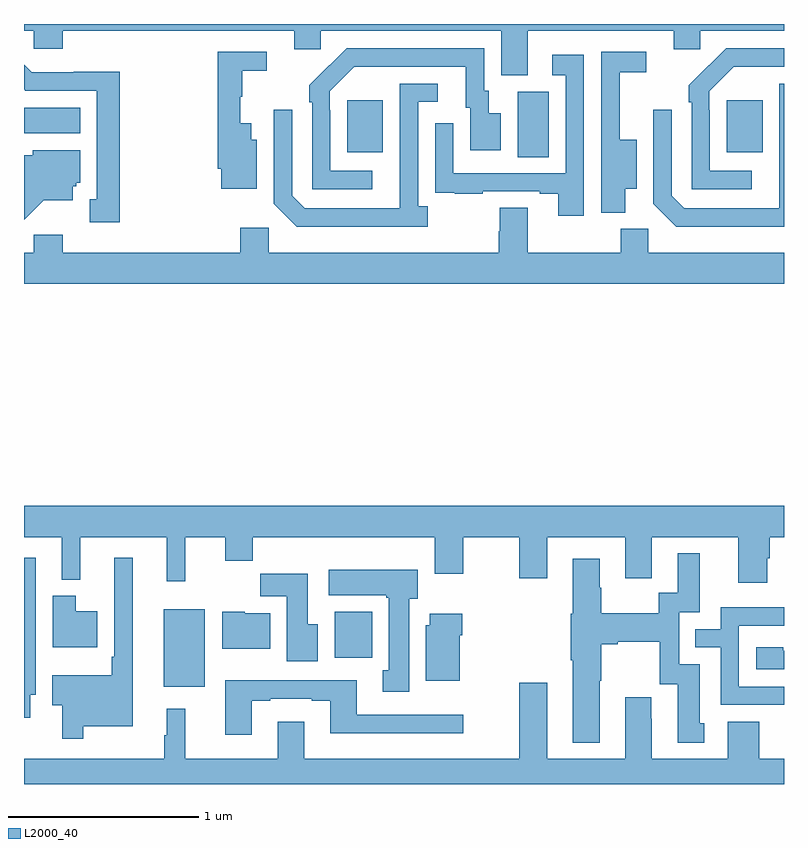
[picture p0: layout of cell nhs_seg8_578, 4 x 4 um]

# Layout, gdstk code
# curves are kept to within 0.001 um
import gdstk
lib = gdstk.Library(unit=1e-6, precision=1e-09)
def R(c, l, rs):  # rectangles x0, y0, x1, y1
    for r in rs: c.add(gdstk.rectangle(r[:2], r[2:], *l))
def P(c, l, *ps):  # polygons
    for p in ps: c.add(gdstk.Polygon(p, *l))
L2000_40 = (2000, 40)

nhs_seg8_578 = lib.new_cell('nhs_seg8_578')
R(nhs_seg8_578, L2000_40, [(149.735,1082.411,149.95,1082.821), (150.635,1082.564,150.832,1082.806), (151.598,1085.2,151.762,1085.544), (150.701,1085.225,150.889,1085.5), (152.699,1085.225,152.887,1085.5), (149,1085.324,149.296,1085.458)])
P(nhs_seg8_578, L2000_40, [(151.651,1085.864),(152.42,1085.864),(152.42,1085.766),(152.559,1085.766),(152.559,1085.864),(153,1085.864),(153,1085.9),(149,1085.9),(149,1085.864),(149.052,1085.864),(149.052,1085.771),(149.204,1085.771),(149.204,1085.864),(150.422,1085.864),(150.422,1085.766),(150.561,1085.766),(150.561,1085.864),(151.511,1085.864),(151.511,1085.629),(151.651,1085.629)],
  [(152.83,1085.127),(152.61,1085.127),(152.61,1085.447),(152.607,1085.447),(152.607,1085.547),(152.736,1085.676),(153,1085.676),(153,1085.772),(152.696,1085.772),(152.499,1085.577),(152.499,1085.489),(152.514,1085.489),(152.514,1085.031),(152.83,1085.031)],
  [(150.832,1085.127),(150.612,1085.127),(150.612,1085.447),(150.609,1085.447),(150.609,1085.547),(150.738,1085.676),(151.325,1085.676),(151.325,1085.46),(151.349,1085.46),(151.349,1085.235),(151.51,1085.235),(151.51,1085.431),(151.447,1085.431),(151.447,1085.55),(151.422,1085.55),(151.422,1085.772),(150.698,1085.772),(150.501,1085.577),(150.501,1085.489),(150.516,1085.489),(150.516,1085.031),(150.832,1085.031)],
  [(150.226,1085.29),(150.196,1085.29),(150.196,1085.377),(150.137,1085.377),(150.137,1085.517),(150.148,1085.517),(150.148,1085.653),(150.277,1085.653),(150.277,1085.754),(150.019,1085.754),(150.019,1085.137),(150.038,1085.137),(150.038,1085.033),(150.226,1085.033)],
  [(152.164,1085.033),(152.224,1085.033),(152.224,1085.29),(152.135,1085.29),(152.135,1085.646),(152.275,1085.646),(152.275,1085.754),(152.037,1085.754),(152.037,1084.907),(152.164,1084.907)],
  [(151.947,1085.737),(151.779,1085.737),(151.779,1085.631),(151.851,1085.631),(151.851,1085.115),(151.26,1085.115),(151.26,1085.377),(151.164,1085.377),(151.164,1085.122),(151.165,1085.122),(151.165,1085.013),(151.267,1085.013),(151.267,1085.007),(151.415,1085.007),(151.415,1085.019),(151.715,1085.019),(151.715,1085.007),(151.811,1085.007),(151.811,1084.89),(151.947,1084.89)],
  [(149.503,1085.648),(149.262,1085.648),(149.262,1085.646),(149.04,1085.646),(149,1085.686),(149,1085.557),(149.007,1085.55),(149.384,1085.55),(149.384,1084.977),(149.345,1084.977),(149.345,1084.857),(149.503,1084.857)],
  [(153,1085.586),(152.976,1085.586),(152.976,1085.129),(152.975,1085.129),(152.975,1084.929),(152.475,1084.929),(152.409,1084.995),(152.409,1085.449),(152.313,1085.449),(152.313,1084.953),(152.434,1084.832),(153,1084.832)],
  [(151.126,1084.942),(151.074,1084.942),(151.074,1085.49),(151.177,1085.49),(151.177,1085.586),(150.978,1085.586),(150.977,1084.929),(150.477,1084.929),(150.411,1084.995),(150.411,1085.449),(150.315,1085.449),(150.315,1084.953),(150.436,1084.832),(151.126,1084.832)],
  [(149.002,1084.871),(149.105,1084.973),(149.257,1084.973),(149.257,1085.046),(149.274,1085.046),(149.274,1085.064),(149.296,1085.064),(149.296,1085.236),(149.046,1085.236),(149.046,1085.209),(149,1085.209),(149,1084.869)],
  [(153,1084.696),(152.286,1084.696),(152.286,1084.822),(152.14,1084.822),(152.14,1084.696),(151.651,1084.696),(151.651,1084.934),(151.504,1084.934),(151.504,1084.809),(151.499,1084.809),(151.499,1084.696),(150.288,1084.696),(150.288,1084.828),(150.137,1084.828),(150.137,1084.696),(149.204,1084.696),(149.204,1084.792),(149.052,1084.792),(149.052,1084.696),(149,1084.696),(149,1084.532),(153,1084.532)],
  [(152.911,1083.087),(152.924,1083.087),(152.924,1083.2),(153,1083.2),(153,1083.364),(149,1083.364),(149,1083.2),(149.198,1083.2),(149.198,1082.975),(149.297,1082.975),(149.297,1083.2),(149.75,1083.2),(149.75,1082.967),(149.849,1082.967),(149.849,1083.2),(150.059,1083.2),(150.059,1083.076),(150.203,1083.076),(150.203,1083.2),(151.163,1083.2),(151.163,1083.006),(151.311,1083.006),(151.311,1083.2),(151.606,1083.2),(151.606,1082.982),(151.753,1082.982),(151.753,1083.2),(152.165,1083.2),(152.165,1082.982),(152.305,1082.982),(152.305,1083.2),(152.759,1083.2),(152.759,1082.958),(152.911,1082.958)],
  [(152.029,1082.443),(152.037,1082.443),(152.037,1082.636),(152.125,1082.636),(152.125,1082.648),(152.345,1082.648),(152.345,1082.424),(152.441,1082.424),(152.441,1082.118),(152.581,1082.118),(152.581,1082.22),(152.557,1082.22),(152.557,1082.529),(152.448,1082.529),(152.448,1082.805),(152.557,1082.805),(152.557,1083.115),(152.441,1083.115),(152.441,1082.906),(152.34,1082.906),(152.34,1082.8),(152.037,1082.8),(152.037,1082.934),(152.029,1082.934),(152.029,1083.085),(151.889,1083.085),(151.889,1082.796),(151.877,1082.796),(151.877,1082.552),(151.889,1082.552),(151.889,1082.117),(152.029,1082.117)],
  [(149.311,1082.204),(149.572,1082.204),(149.572,1083.091),(149.475,1083.091),(149.475,1082.569),(149.463,1082.569),(149.463,1082.473),(149.148,1082.473),(149.148,1082.315),(149.201,1082.315),(149.201,1082.139),(149.311,1082.139)],
  [(149.032,1082.369),(149.061,1082.369),(149.061,1083.09),(149,1083.09),(149,1082.25),(149.032,1082.25)],
  [(151.027,1082.874),(151.072,1082.874),(151.072,1083.028),(150.603,1083.028),(150.603,1082.894),(150.907,1082.894),(150.907,1082.881),(150.92,1082.881),(150.92,1082.498),(150.887,1082.498),(150.887,1082.385),(151.027,1082.385)],
  [(150.547,1082.74),(150.493,1082.74),(150.493,1083.007),(150.244,1083.007),(150.244,1082.888),(150.383,1082.888),(150.383,1082.547),(150.547,1082.547)],
  [(149.386,1082.809),(149.272,1082.809),(149.272,1082.89),(149.15,1082.89),(149.15,1082.621),(149.386,1082.621)],
  [(153,1082.412),(152.763,1082.412),(152.763,1082.733),(153,1082.733),(153,1082.829),(152.667,1082.829),(152.667,1082.715),(152.533,1082.715),(152.533,1082.619),(152.667,1082.619),(152.667,1082.316),(153,1082.316)],
  [(150.295,1082.8),(150.162,1082.8),(150.162,1082.806),(150.044,1082.806),(150.044,1082.612),(150.295,1082.612)],
  [(151.294,1082.684),(151.307,1082.684),(151.307,1082.797),(151.136,1082.797),(151.136,1082.736),(151.115,1082.736),(151.115,1082.444),(151.294,1082.444)],
  [(153,1082.602),(152.997,1082.602),(152.997,1082.62),(152.853,1082.62),(152.853,1082.505),(153,1082.505)],
  [(150.199,1082.337),(150.295,1082.337),(150.295,1082.349),(150.515,1082.349),(150.515,1082.337),(150.611,1082.337),(150.611,1082.168),(151.312,1082.168),(151.312,1082.265),(150.751,1082.265),(150.751,1082.445),(150.287,1082.445),(150.287,1082.446),(150.059,1082.446),(150.059,1082.16),(150.199,1082.16)],
  [(153,1082.032),(152.869,1082.032),(152.869,1082.227),(152.705,1082.227),(152.705,1082.032),(152.305,1082.032),(152.305,1082.243),(152.302,1082.243),(152.302,1082.356),(152.165,1082.356),(152.165,1082.032),(151.753,1082.032),(151.753,1082.434),(151.606,1082.434),(151.606,1082.032),(150.475,1082.032),(150.475,1082.227),(150.335,1082.227),(150.335,1082.032),(149.849,1082.032),(149.849,1082.296),(149.75,1082.296),(149.75,1082.156),(149.739,1082.156),(149.739,1082.032),(149,1082.032),(149,1081.9),(153,1081.9)])

lib.write_gds('nhs_seg8_578.gds')
